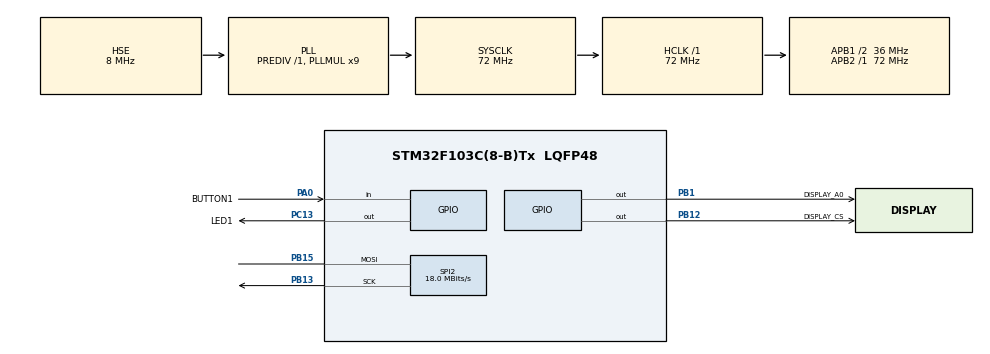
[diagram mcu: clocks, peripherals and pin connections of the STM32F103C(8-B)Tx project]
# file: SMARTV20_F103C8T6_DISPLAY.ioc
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Mcu.Family=STM32F1
Mcu.Name=STM32F103C(8-B)Tx
Mcu.Package=LQFP48
NVIC.PriorityGroup=NVIC_PRIORITYGROUP_4
PA0-WKUP.GPIO_Label=BUTTON1
PA0-WKUP.Signal=GPIO_Input
PA13.Mode=Serial_Wire
PA13.Signal=SYS_JTMS-SWDIO
PA14.Mode=Serial_Wire
PA14.Signal=SYS_JTCK-SWCLK
PB1.GPIO_Label=DISPLAY_A0
PB1.Signal=GPIO_Output
PB12.GPIO_Label=DISPLAY_CS
PB12.Signal=GPIO_Output
PB13.Mode=Simplex_Bidirectional_Master
PB13.Signal=SPI2_SCK
PB15.Mode=Simplex_Bidirectional_Master
PB15.Signal=SPI2_MOSI
PC13-TAMPER-RTC.GPIO_Label=LED1
PC13-TAMPER-RTC.Signal=GPIO_Output
PC14-OSC32_IN.Mode=LSE-External-Oscillator
PC14-OSC32_IN.Signal=RCC_OSC32_IN
PC15-OSC32_OUT.Mode=LSE-External-Oscillator
PC15-OSC32_OUT.Signal=RCC_OSC32_OUT
PD0-OSC_IN.Mode=HSE-External-Oscillator
PD0-OSC_IN.Signal=RCC_OSC_IN
PD1-OSC_OUT.Mode=HSE-External-Oscillator
PD1-OSC_OUT.Signal=RCC_OSC_OUT
ProjectManager.HeapSize=0x200
ProjectManager.StackSize=0x400
ProjectManager.TargetToolchain=STM32CubeIDE
RCC.AHBFreq_Value=72000000
RCC.APB1CLKDivider=RCC_HCLK_DIV2
RCC.APB1Freq_Value=36000000
RCC.APB1TimFreq_Value=72000000
RCC.APB2Freq_Value=72000000
RCC.APB2TimFreq_Value=72000000
RCC.HCLKFreq_Value=72000000
RCC.PLLMUL=RCC_PLL_MUL9
RCC.PLLSourceVirtual=RCC_PLLSOURCE_HSE
RCC.SYSCLKFreq_VALUE=72000000
RCC.SYSCLKSource=RCC_SYSCLKSOURCE_PLLCLK
RCC.USBFreq_Value=72000000
SPI2.CalculateBaudRate=18.0 MBits/s
SPI2.Direction=SPI_DIRECTION_1LINE
SPI2.Mode=SPI_MODE_MASTER
SPI2.VirtualType=VM_MASTER
board=custom

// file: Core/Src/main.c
/* USER CODE BEGIN Header */
/**
 ******************************************************************************
 * @file           : main.c
 * @brief          : Main program body
 ******************************************************************************
 * @attention
 *
 * Copyright (c) 2025 STMicroelectronics.
 * All rights reserved.
 *
 * This software is licensed under terms that can be found in the LICENSE file
 * in the root directory of this software component.
 * If no LICENSE file comes with this software, it is provided AS-IS.
 *
 ******************************************************************************
 */
/* USER CODE END Header */
#include "main.h"

/* USER CODE BEGIN Includes */
#include <stdio.h>
#include <fonts.h>
#include "st7735.h"
/* USER CODE END Includes */

SPI_HandleTypeDef hspi2;

void SystemClock_Config(void);
static void MX_GPIO_Init(void);
static void MX_SPI2_Init(void);

int main(void) {

	/* MCU Configuration--------------------------------------------------------*/

	/* Reset of all peripherals, Initializes the Flash interface and the Systick. */
	HAL_Init();

	/* Configure the system clock */
	SystemClock_Config();

	/* Initialize all configured peripherals */
	MX_GPIO_Init();
	MX_SPI2_Init();
	/* USER CODE BEGIN 2 */
	ST7735_Init();
	ST7735_FillScreen(ST7735_BLACK);
//	ST7735_DrawPixel(10, 10, 128);
//
//	ST7735_DrawPixel(100, 10, 0);
//	ST7735_DrawPixel(10, 100, 250);
    // Check border
    ST7735_FillScreen(ST7735_BLACK);

    for(int x = 0; x < ST7735_WIDTH; x++) {
        ST7735_DrawPixel(x, 0, ST7735_RED);
        ST7735_DrawPixel(x, ST7735_HEIGHT-1, ST7735_RED);
    }

    for(int y = 0; y < ST7735_HEIGHT; y++) {
        ST7735_DrawPixel(0, y, ST7735_RED);
        ST7735_DrawPixel(ST7735_WIDTH-1, y, ST7735_RED);
    }

    HAL_Delay(3000);

    // Check fonts
    ST7735_FillScreen(ST7735_BLACK);
    ST7735_WriteString(0, 0, "Font_7x10, red on black, lorem ipsum dolor sit amet", Font_7x10, ST7735_RED, ST7735_BLACK);
    ST7735_WriteString(0, 3*10, "Font_11x18, green, lorem ipsum", Font_11x18, ST7735_GREEN, ST7735_BLACK);
    ST7735_WriteString(0, 3*10+3*18, "Font_16x26", Font_16x26, ST7735_BLUE, ST7735_BLACK);
    HAL_Delay(2000);

	/* USER CODE END 2 */

	/* Infinite loop */
	/* USER CODE BEGIN WHILE */
	while (1) {
		printf("while loop\n");
		HAL_GPIO_TogglePin(LED1_GPIO_Port, LED1_Pin);
		HAL_Delay(500);
		/* USER CODE END WHILE */

	}
}

void SystemClock_Config(void) {
	RCC_OscInitTypeDef RCC_OscInitStruct = { 0 };
	RCC_ClkInitTypeDef RCC_ClkInitStruct = { 0 };

	/** Initializes the RCC Oscillators according to the specified parameters
	 * in the RCC_OscInitTypeDef structure.
	 */
	RCC_OscInitStruct.OscillatorType = RCC_OSCILLATORTYPE_HSE;
	RCC_OscInitStruct.HSEState = RCC_HSE_ON;
	RCC_OscInitStruct.HSEPredivValue = RCC_HSE_PREDIV_DIV1;
	RCC_OscInitStruct.HSIState = RCC_HSI_ON;
	RCC_OscInitStruct.PLL.PLLState = RCC_PLL_ON;
	RCC_OscInitStruct.PLL.PLLSource = RCC_PLLSOURCE_HSE;
	RCC_OscInitStruct.PLL.PLLMUL = RCC_PLL_MUL9;
	if (HAL_RCC_OscConfig(&RCC_OscInitStruct) != HAL_OK) {
		Error_Handler();
	}

	/** Initializes the CPU, AHB and APB buses clocks
	 */
	RCC_ClkInitStruct.ClockType = RCC_CLOCKTYPE_HCLK | RCC_CLOCKTYPE_SYSCLK
			| RCC_CLOCKTYPE_PCLK1 | RCC_CLOCKTYPE_PCLK2;
	RCC_ClkInitStruct.SYSCLKSource = RCC_SYSCLKSOURCE_PLLCLK;
	RCC_ClkInitStruct.AHBCLKDivider = RCC_SYSCLK_DIV1;
	RCC_ClkInitStruct.APB1CLKDivider = RCC_HCLK_DIV2;
	RCC_ClkInitStruct.APB2CLKDivider = RCC_HCLK_DIV1;

	if (HAL_RCC_ClockConfig(&RCC_ClkInitStruct, FLASH_LATENCY_2) != HAL_OK) {
		Error_Handler();
	}
}

static void MX_SPI2_Init(void) {

	/* SPI2 parameter configuration*/
	hspi2.Instance = SPI2;
	hspi2.Init.Mode = SPI_MODE_MASTER;
	hspi2.Init.Direction = SPI_DIRECTION_1LINE;
	hspi2.Init.DataSize = SPI_DATASIZE_8BIT;
	hspi2.Init.CLKPolarity = SPI_POLARITY_LOW;
	hspi2.Init.CLKPhase = SPI_PHASE_1EDGE;
	hspi2.Init.NSS = SPI_NSS_SOFT;
	hspi2.Init.BaudRatePrescaler = SPI_BAUDRATEPRESCALER_2;
	hspi2.Init.FirstBit = SPI_FIRSTBIT_MSB;
	hspi2.Init.TIMode = SPI_TIMODE_DISABLE;
	hspi2.Init.CRCCalculation = SPI_CRCCALCULATION_DISABLE;
	hspi2.Init.CRCPolynomial = 10;
	if (HAL_SPI_Init(&hspi2) != HAL_OK) {
		Error_Handler();
	}

}

static void MX_GPIO_Init(void) {
	GPIO_InitTypeDef GPIO_InitStruct = { 0 };

	/* GPIO Ports Clock Enable */
	__HAL_RCC_GPIOC_CLK_ENABLE();
	__HAL_RCC_GPIOD_CLK_ENABLE();
	__HAL_RCC_GPIOA_CLK_ENABLE();
	__HAL_RCC_GPIOB_CLK_ENABLE();

	/*Configure GPIO pin Output Level */
	HAL_GPIO_WritePin(LED1_GPIO_Port, LED1_Pin, GPIO_PIN_RESET);

	/*Configure GPIO pin Output Level */
	HAL_GPIO_WritePin(GPIOB, DISPLAY_A0_Pin | DISPLAY_CS_Pin, GPIO_PIN_RESET);

	/*Configure GPIO pin : LED1_Pin */
	GPIO_InitStruct.Pin = LED1_Pin;
	GPIO_InitStruct.Mode = GPIO_MODE_OUTPUT_PP;
	GPIO_InitStruct.Pull = GPIO_NOPULL;
	GPIO_InitStruct.Speed = GPIO_SPEED_FREQ_LOW;
	HAL_GPIO_Init(LED1_GPIO_Port, &GPIO_InitStruct);

	/*Configure GPIO pin : BUTTON1_Pin */
	GPIO_InitStruct.Pin = BUTTON1_Pin;
	GPIO_InitStruct.Mode = GPIO_MODE_INPUT;
	GPIO_InitStruct.Pull = GPIO_NOPULL;
	HAL_GPIO_Init(BUTTON1_GPIO_Port, &GPIO_InitStruct);

	/*Configure GPIO pins : DISPLAY_A0_Pin DISPLAY_CS_Pin */
	GPIO_InitStruct.Pin = DISPLAY_A0_Pin | DISPLAY_CS_Pin;
	GPIO_InitStruct.Mode = GPIO_MODE_OUTPUT_PP;
	GPIO_InitStruct.Pull = GPIO_NOPULL;
	GPIO_InitStruct.Speed = GPIO_SPEED_FREQ_LOW;
	HAL_GPIO_Init(GPIOB, &GPIO_InitStruct);

}

/* USER CODE BEGIN 4 */
/* Send a char through ITM */
int _write(int file, char *ptr, int len) {
	int DataIdx;
	for (DataIdx = 0; DataIdx < len; DataIdx++) {
		ITM_SendChar(*ptr++);
	}
	return len;
}
/* USER CODE END 4 */

void Error_Handler(void) {
	__disable_irq();
	while (1) {
	}
}
